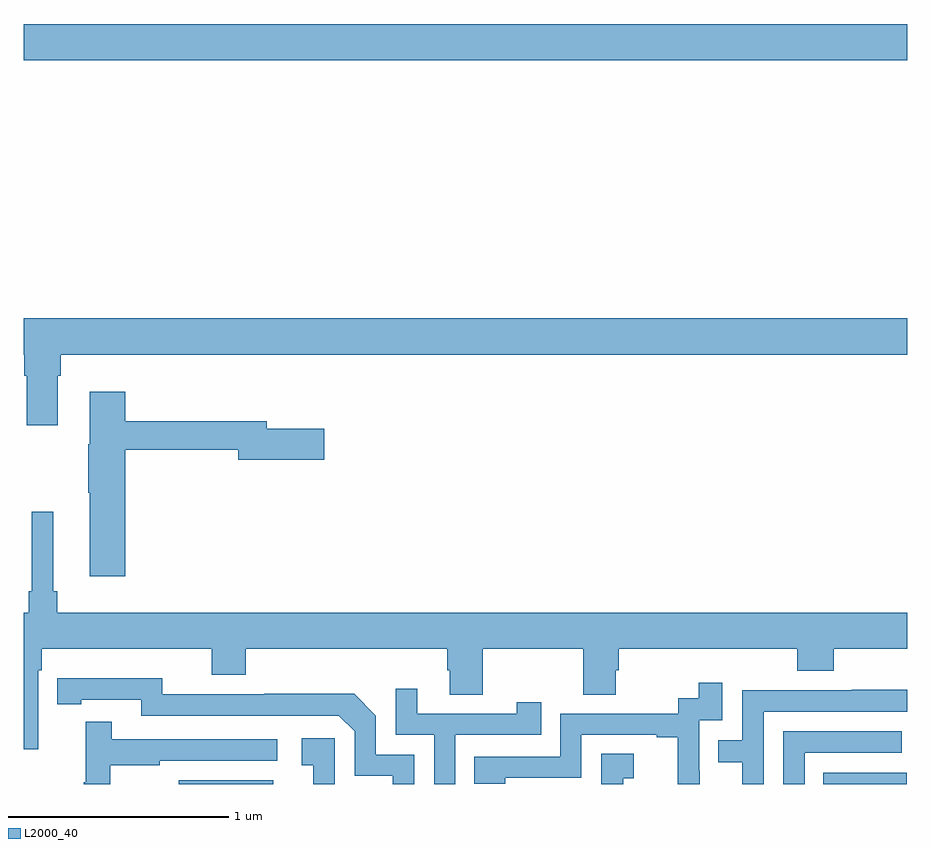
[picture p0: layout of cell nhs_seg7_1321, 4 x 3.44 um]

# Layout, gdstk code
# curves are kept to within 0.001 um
import gdstk
lib = gdstk.Library(unit=1e-6, precision=1e-09)
def R(c, l, rs):  # rectangles x0, y0, x1, y1
    for r in rs: c.add(gdstk.rectangle(r[:2], r[2:], *l))
def P(c, l, *ps):  # polygons
    for p in ps: c.add(gdstk.Polygon(p, *l))
L2000_40 = (2000, 40)

nhs_seg7_1321 = lib.new_cell('nhs_seg7_1321')
R(nhs_seg7_1321, L2000_40, [(203.703,1004,204.13,1004.017), (206.62,1004,206.998,1004.05), (203,1007.276,207,1007.44)])
P(nhs_seg7_1321, L2000_40, [(203.155,1005.848),(203.168,1005.848),(203.168,1005.944),(207,1005.944),(207,1006.108),(203,1006.108),(203,1005.944),(203.003,1005.944),(203.003,1005.848),(203.015,1005.848),(203.015,1005.624),(203.155,1005.624)],
  [(203.459,1005.514),(203.972,1005.514),(203.972,1005.467),(204.361,1005.467),(204.361,1005.609),(204.1,1005.609),(204.1,1005.643),(203.459,1005.643),(203.459,1005.775),(203.3,1005.775),(203.3,1005.537),(203.293,1005.537),(203.293,1005.319),(203.3,1005.319),(203.3,1004.94),(203.459,1004.94)],
  [(203.153,1004.872),(203.134,1004.872),(203.134,1005.232),(203.037,1005.232),(203.037,1004.872),(203.024,1004.872),(203.024,1004.776),(203,1004.776),(203,1004.157),(203.067,1004.157),(203.067,1004.516),(203.081,1004.516),(203.081,1004.612),(203.852,1004.612),(203.852,1004.495),(204.005,1004.495),(204.005,1004.612),(204.917,1004.612),(204.917,1004.514),(204.929,1004.514),(204.929,1004.404),(205.077,1004.404),(205.077,1004.612),(205.534,1004.612),(205.534,1004.404),(205.681,1004.404),(205.681,1004.514),(205.694,1004.514),(205.694,1004.612),(206.501,1004.612),(206.501,1004.513),(206.666,1004.513),(206.666,1004.612),(207,1004.612),(207,1004.776),(203.153,1004.776)],
  [(204.768,1004.133),(204.594,1004.133),(204.594,1004.31),(204.496,1004.408),(204.088,1004.408),(204.088,1004.406),(203.628,1004.406),(203.628,1004.479),(203.152,1004.478),(203.152,1004.362),(203.26,1004.362),(203.26,1004.382),(203.532,1004.382),(203.532,1004.31),(204.426,1004.31),(204.498,1004.238),(204.498,1004.037),(204.671,1004.037),(204.671,1004),(204.768,1004)],
  [(206.06,1004.06),(206.058,1004.06),(206.058,1004.289),(206.163,1004.289),(206.163,1004.458),(206.055,1004.458),(206.055,1004.388),(205.962,1004.388),(205.962,1004.319),(205.428,1004.319),(205.428,1004.124),(205.039,1004.124),(205.039,1004.001),(205.179,1004.001),(205.179,1004.028),(205.524,1004.028),(205.524,1004.223),(205.865,1004.223),(205.865,1004.211),(205.961,1004.211),(205.961,1004),(206.06,1004)],
  [(204.954,1004.223),(205.343,1004.223),(205.343,1004.371),(205.232,1004.371),(205.232,1004.319),(204.781,1004.319),(204.781,1004.431),(204.684,1004.431),(204.684,1004.223),(204.858,1004.223),(204.858,1004),(204.954,1004)],
  [(206.349,1004.328),(207,1004.328),(207,1004.426),(206.749,1004.426),(206.749,1004.424),(206.253,1004.424),(206.253,1004.199),(206.143,1004.199),(206.143,1004.098),(206.253,1004.098),(206.253,1004),(206.349,1004)],
  [(203.392,1004.086),(203.615,1004.086),(203.615,1004.106),(204.148,1004.106),(204.148,1004.202),(203.399,1004.202),(203.399,1004.281),(203.282,1004.281),(203.282,1004.009),(203.271,1004.009),(203.271,1004),(203.392,1004)],
  [(206.535,1004.142),(206.974,1004.142),(206.974,1004.238),(206.439,1004.238),(206.439,1004),(206.535,1004)],
  [(204.408,1004.206),(204.258,1004.206),(204.258,1004.085),(204.311,1004.085),(204.311,1004),(204.408,1004)],
  [(205.713,1004.027),(205.762,1004.027),(205.762,1004.137),(205.614,1004.137),(205.614,1004),(205.713,1004)])

lib.write_gds('nhs_seg7_1321.gds')
